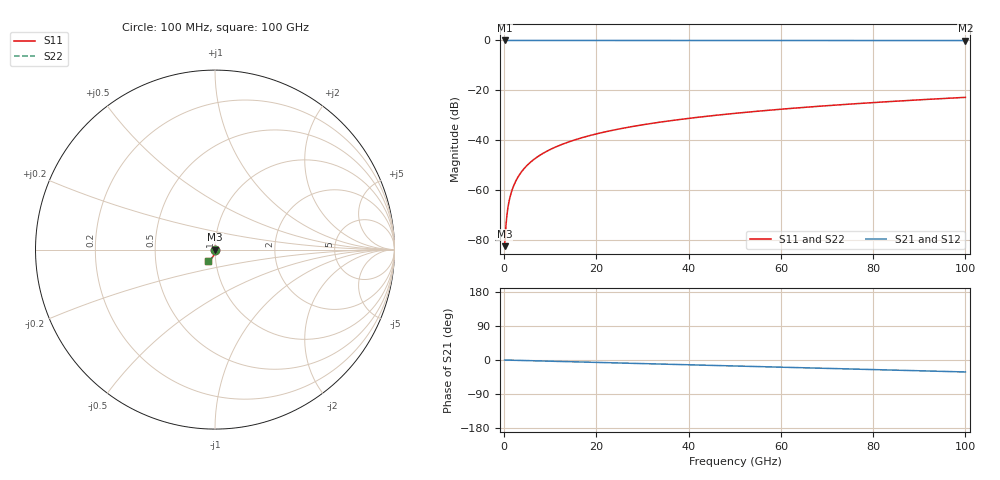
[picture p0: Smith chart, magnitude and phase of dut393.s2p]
! Touchstone file exported from HFSS 2026.1.0
!  File:  C:/ffzhzh/LocalFiles/Ansys_Project_Files/temp_train_TSV_393_1783510710_9504.aedt
!  Generated:  07:39:43 PM Jul  8, 2026
!  Design:  TSV
!  Project:  temp_train_TSV_393_1783510710_9504
! Variables:
!  h_bsmrdl = 2um
!  h_ox = 20um
!  h_rdl = 5um
!  h_sub = 60um
!  h_tmrdl = 5um
!  h_tsv = 60um
!  h_via = 3um
!  l_bsmrdl = 300um
!  l_sub = 427.42um
!  l_tmrdl = 200um
!  m_sub = 200um
!  pitch = 48.35um
!  r_tsv = 13.71um
!  s_tmrdl = 10um
!  w_bsmrdl = 18um
!  w_sub = 500um
!  w_tmrdl = 12um
!  x_tsv_center1 = 206um
!  x_tsv_center2 = 524um
!  x_tsv_center3 = 736um
!  x_tsv_center4 = 1054um
!  x_tsv_center5 = 1266um
!  x_tsv_center6 = 1584um
# GHz S MA R 50.000000
! Terminal data exported
! Port[1] = TSV1_1_T1
! Port[2] = TSV1_1_T2
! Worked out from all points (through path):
!   1000 points, 100 MHz to 100 GHz, reference 50 ohm
!   highest |S21| = 0.00 dB at 100 MHz (marker M1); lowest = 0.0 dB at 100 GHz (marker M2)
!   group delay of S21, straight-line fit = 876 fs
!   lowest |S11| = -82.4 dB at 100 MHz (marker M3), VSWR 1.00, Z = 50 - j0.00344 ohm
!   |S11| at or under -10 dB: start of sweep to end of sweep
!   |S22| runs from -82.4 to -22.8 dB; largest |S21 - S12| = 2.8e-15
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0.1  7.545e-05 -27.1  0.9999 -0.0  0.9999 -0.0  7.545e-05 -27.1
! Gamma 0 0 0 0
! Port Impedance 50 0 50 0
0.4  0.0002005 -56.2  0.9999 -0.1  0.9999 -0.1  0.0002005 -56.2
0.8  0.0004337 -67.4  0.9998 -0.3  0.9998 -0.3  0.0004337 -67.4
1  0.0005568 -70.5  0.9998 -0.3  0.9998 -0.3  0.0005568 -70.5
1.2  0.0006809 -72.8  0.9998 -0.4  0.9998 -0.4  0.0006809 -72.8
1.5  0.0008685 -75.3  0.9998 -0.5  0.9998 -0.5  0.0008685 -75.3
2  0.001185 -77.9  0.9997 -0.6  0.9997 -0.6  0.001185 -77.9
2.6  0.00157 -79.9  0.9997 -0.8  0.9997 -0.8  0.00157 -79.9
3.3  0.002027 -81.5  0.9997 -1.1  0.9997 -1.1  0.002027 -81.5
4.1  0.002557 -82.8  0.9996 -1.3  0.9996 -1.3  0.002557 -82.8
5.1  0.003224 -84.1  0.9996 -1.6  0.9996 -1.6  0.003224 -84.1
6.2  0.003963 -85.3  0.9995 -2.0  0.9995 -2.0  0.003963 -85.3
9  0.005857 -87.4  0.9994 -2.8  0.9994 -2.8  0.005857 -87.4
12.5  0.008241 -89.3  0.9993 -3.9  0.9993 -3.9  0.008241 -89.3
16.8  0.0112 -91.3  0.9992 -5.3  0.9992 -5.3  0.0112 -91.3
24.1  0.01627 -94.3  0.9989 -7.6  0.9989 -7.6  0.01627 -94.3
33.4  0.02278 -97.8  0.9986 -10.5  0.9986 -10.5  0.02278 -97.8
41.2  0.0283 -100.6  0.9984 -13.0  0.9984 -13.0  0.0283 -100.6
50.1  0.03467 -103.6  0.998 -15.8  0.998 -15.8  0.03467 -103.6
66.7  0.04684 -109.1  0.9973 -21.0  0.9973 -21.0  0.04684 -109.1
83.4  0.05949 -114.7  0.9964 -26.3  0.9964 -26.3  0.05949 -114.7
100  0.07242 -120.3  0.9952 -31.6  0.9952 -31.6  0.07242 -120.3
